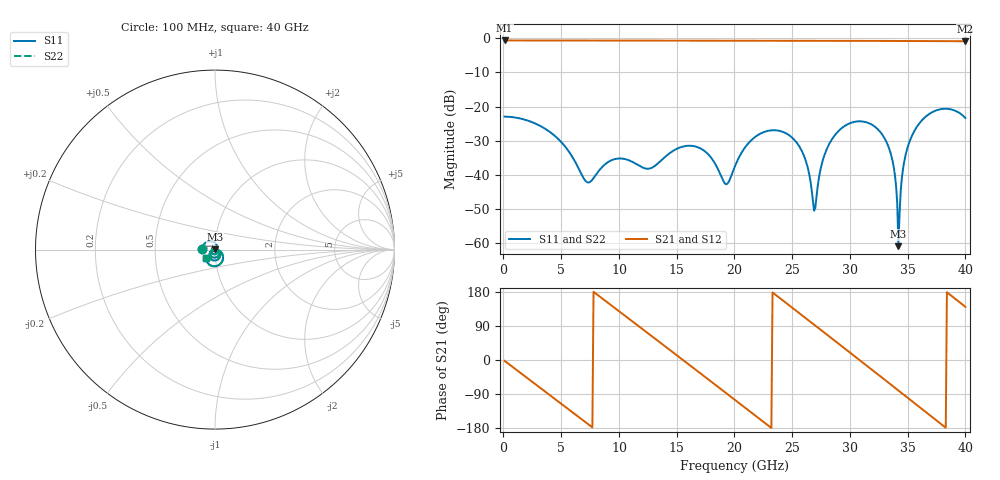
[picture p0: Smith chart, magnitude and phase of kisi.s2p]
! kisi-coupons-jlc4-a__THRU_L1__w10: 2×thru on F.Cu (top connectors), 25 mm edge to edge [w10: 10 mm of the feed line: 3D 2×thru of the via coupons (window w10)]
! stackup: JLCPCB JLC04161H-7628, 4 layers, 1.6 mm, outer 1 oz, inner 0.5 oz (JLC's default 4-layer impedance template)
! ports: 1, 2
! kisi-fdtd, conformal, dfine 0.035 mm, 753597 cells
# Hz S RI R 50
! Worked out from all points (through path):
!   400 points, 100 MHz to 40 GHz, reference 50 ohm
!   highest |S21| = -0.63 dB at 100 MHz (marker M1); lowest = -0.9 dB at 40 GHz (marker M2)
!   group delay of S21, straight-line fit = 65.2 ps
!   lowest |S11| = -60.9 dB at 34.2 GHz (marker M3), VSWR 1.00, Z = 49.9 + j0.0662 ohm
!   |S11| at or under -10 dB: start of sweep to end of sweep
!   |S22| runs from -60.9 to -20.6 dB; largest |S21 - S12| = 0
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1e8  -0.0713 0.00246  0.9293 -0.0375  0.9293 -0.0375  -0.0713 0.00246
3.6e9  -0.0145 0.0453  0.1113 -0.9219  0.1113 -0.9219  -0.0145 0.0453
6.8e9  0.00991 -2.41e-06  -0.8534 -0.3625  -0.8534 -0.3625  0.00991 -2.41e-06
1.06e10  -0.0145 0.0087  -0.3921 0.8393  -0.3921 0.8393  -0.0145 0.0087
1.34e10  0.0147 -0.00191  0.595 0.7088  0.595 0.7088  0.0147 -0.00191
1.64e10  -0.0136 -0.0228  0.8687 -0.315  0.8687 -0.315  -0.0136 -0.0228
1.92e10  -0.00122 0.00732  0.0738 -0.92  0.0738 -0.92  -0.00122 0.00732
2.01e10  0.014 0.00177  -0.2623 -0.8846  -0.2623 -0.8846  0.014 0.00177
2.34e10  -0.00626 -0.0447  -0.919 0.0659  -0.919 0.0659  -0.00626 -0.0447
2.56e10  -0.0241 -0.0108  -0.5144 0.7629  -0.5144 0.7629  -0.0241 -0.0108
2.67e10  -0.00523 0.00259  -0.1277 0.9106  -0.1277 0.9106  -0.00523 0.00259
2.69e10  -0.000647 0.00293  -0.0522 0.9179  -0.0522 0.9179  -0.000647 0.00293
2.8e10  0.0224 -0.00856  0.3559 0.8469  0.3559 0.8469  0.0224 -0.00856
3.03e10  0.00936 -0.0585  0.8952 0.2003  0.8952 0.2003  0.00936 -0.0585
3.34e10  -0.0224 -0.00921  0.4395 -0.8028  0.4395 -0.8028  -0.0224 -0.00921
3.4e10  -0.00682 -0.000413  0.2267 -0.8861  0.2267 -0.8861  -0.00682 -0.000413
3.42e10  -0.000617 0.000663  0.1519 -0.9017  0.1519 -0.9017  -0.000617 0.000663
3.44e10  0.00582 0.000679  0.0761 -0.911  0.0761 -0.911  0.00582 0.000679
3.46e10  0.0123 -0.000401  -0.000188 -0.914  -0.000188 -0.914  0.0123 -0.000401
3.55e10  0.0372 -0.0182  -0.3357 -0.8488  -0.3357 -0.8488  0.0372 -0.0182
3.78e10  0.0111 -0.0906  -0.8852 -0.2078  -0.8852 -0.2078  0.0111 -0.0906
4e10  -0.05 -0.0464  -0.6971 0.5792  -0.6971 0.5792  -0.05 -0.0464
